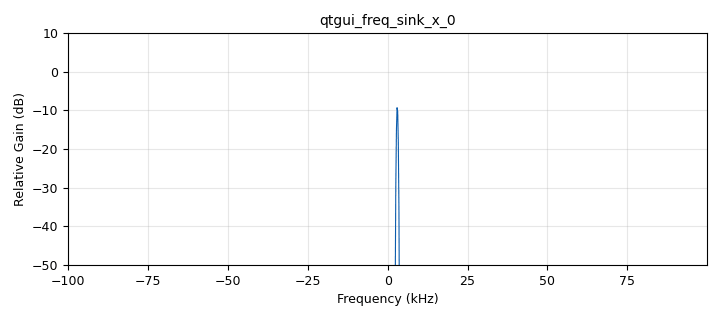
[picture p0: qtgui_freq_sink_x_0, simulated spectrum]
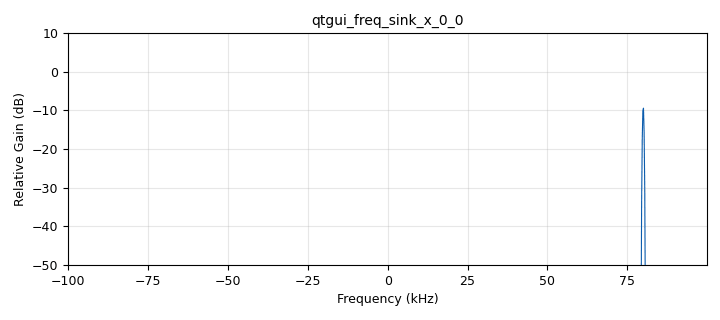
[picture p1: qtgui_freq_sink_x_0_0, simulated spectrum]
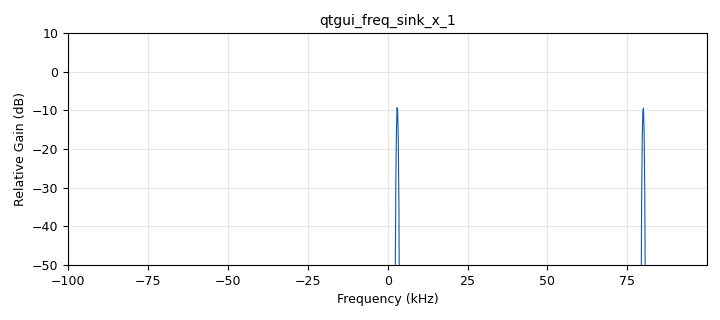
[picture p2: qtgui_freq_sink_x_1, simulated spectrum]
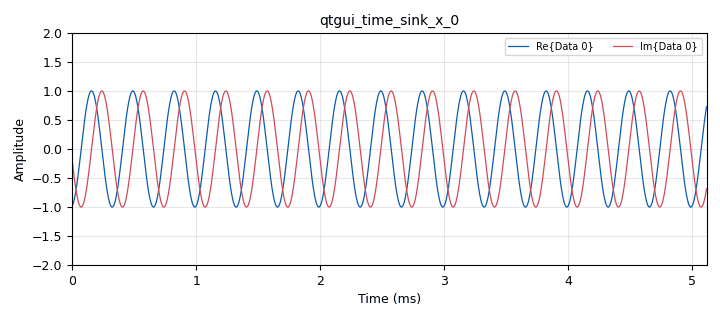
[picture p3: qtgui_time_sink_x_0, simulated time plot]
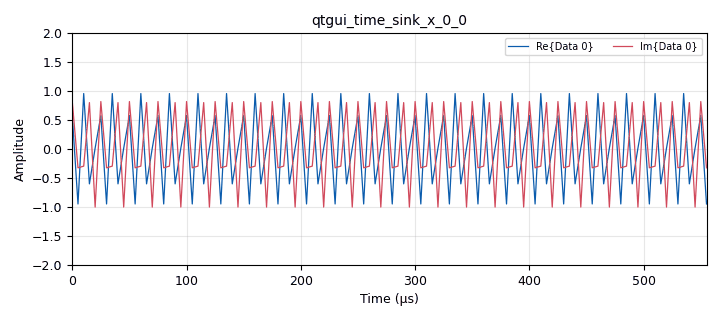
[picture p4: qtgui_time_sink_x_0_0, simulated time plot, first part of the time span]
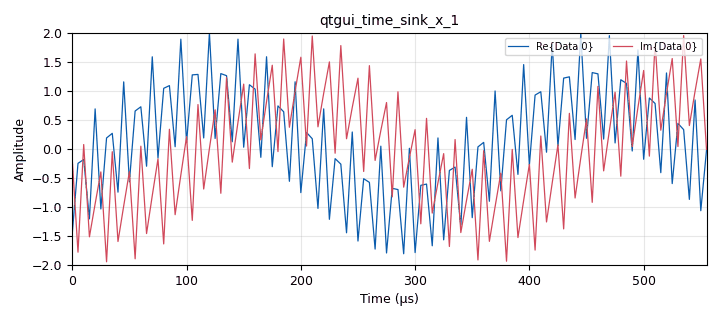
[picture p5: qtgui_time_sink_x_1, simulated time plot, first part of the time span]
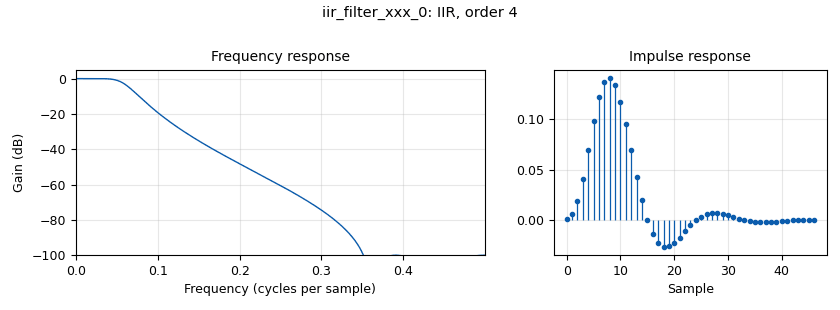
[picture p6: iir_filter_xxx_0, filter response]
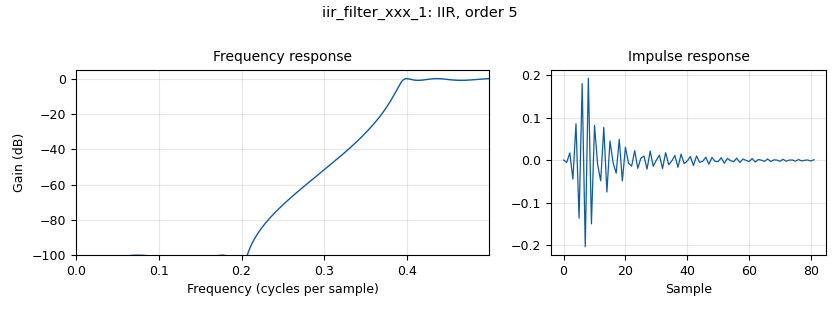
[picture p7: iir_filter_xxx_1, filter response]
<?xml version='1.0' encoding='utf-8'?>
<?grc format='1' created='3.7.11'?>
<flow_graph>
<block>
<key>options</key>
<param><key>id</key><value>top_block</value></param>
<param><key>category</key><value>Custom</value></param>
<param><key>generate_options</key><value>qt_gui</value></param>
</block>
<block>
<key>variable</key>
<param><key>id</key><value>samp_rate</value></param>
<param><key>value</key><value>200000</value></param>
</block>
<block>
<key>qtgui_tab_widget</key>
<param><key>id</key><value>aba</value></param>
<param><key>label0</key><value>Sinal Original</value></param>
<param><key>label1</key><value>Sinal filtrado(passa-baixa)</value></param>
<param><key>label2</key><value>Sinal filtrado(passa-alta)</value></param>
<param><key>num_tabs</key><value>3</value></param>
</block>
<block>
<key>analog_sig_source_x</key>
<param><key>id</key><value>analog_sig_source_x_0</value></param>
<param><key>amp</key><value>1</value></param>
<param><key>freq</key><value>3000</value></param>
<param><key>offset</key><value>0</value></param>
<param><key>type</key><value>complex</value></param>
<param><key>samp_rate</key><value>samp_rate</value></param>
<param><key>waveform</key><value>analog.GR_COS_WAVE</value></param>
</block>
<block>
<key>analog_sig_source_x</key>
<param><key>id</key><value>analog_sig_source_x_1</value></param>
<param><key>amp</key><value>1</value></param>
<param><key>freq</key><value>80000</value></param>
<param><key>offset</key><value>0</value></param>
<param><key>type</key><value>complex</value></param>
<param><key>samp_rate</key><value>samp_rate</value></param>
<param><key>waveform</key><value>analog.GR_COS_WAVE</value></param>
</block>
<block>
<key>blocks_add_xx</key>
<param><key>id</key><value>blocks_add_xx_0</value></param>
<param><key>type</key><value>complex</value></param>
</block>
<block>
<key>iir_filter_xxx</key>
<param><key>id</key><value>iir_filter_xxx_0</value></param>
<param><key>fftaps</key><value>[0.0009638076722969964, 0.0030313588672336877, 0.004233315492323548, 0.0030313588672336925, 0.0009638076722969999]</value></param>
<param><key>fbtaps</key><value>[1.0, -3.0330610834096405, 3.5399764283405, -1.8714822148129084, 0.3767905184534317]</value></param>
<param><key>oldstyle</key><value>False</value></param>
<param><key>type</key><value>ccc</value></param>
</block>
<block>
<key>iir_filter_xxx</key>
<param><key>id</key><value>iir_filter_xxx_1</value></param>
<param><key>fftaps</key><value>[0.0007069823689963606, -0.002081894494812258, 0.003371287021986986, -0.003371287021986987, 0.002081894494812262, -0.0007069823689963624]</value></param>
<param><key>fbtaps</key><value>[1.0, 3.8865765364395495, 6.497021600781949, 5.772697446945259, 2.7147113511991567, 0.5401386408247056]</value></param>
<param><key>oldstyle</key><value>False</value></param>
<param><key>type</key><value>ccf</value></param>
</block>
<block>
<key>qtgui_freq_sink_x</key>
<param><key>id</key><value>qtgui_freq_sink_x_0</value></param>
<param><key>bw</key><value>samp_rate</value></param>
<param><key>fc</key><value>0</value></param>
<param><key>fftsize</key><value>1024</value></param>
<param><key>gui_hint</key><value>aba@1:1,1</value></param>
<param><key>showports</key><value>True</value></param>
<param><key>type</key><value>complex</value></param>
<param><key>wintype</key><value>firdes.WIN_BLACKMAN_hARRIS</value></param>
<param><key>ymin</key><value>-50</value></param>
</block>
<block>
<key>qtgui_freq_sink_x</key>
<param><key>id</key><value>qtgui_freq_sink_x_0_0</value></param>
<param><key>bw</key><value>samp_rate</value></param>
<param><key>fc</key><value>0</value></param>
<param><key>fftsize</key><value>1024</value></param>
<param><key>gui_hint</key><value>aba@2:1,1</value></param>
<param><key>showports</key><value>True</value></param>
<param><key>type</key><value>complex</value></param>
<param><key>wintype</key><value>firdes.WIN_BLACKMAN_hARRIS</value></param>
<param><key>ymin</key><value>-50</value></param>
</block>
<block>
<key>qtgui_freq_sink_x</key>
<param><key>id</key><value>qtgui_freq_sink_x_1</value></param>
<param><key>bw</key><value>samp_rate</value></param>
<param><key>fc</key><value>0</value></param>
<param><key>fftsize</key><value>1024</value></param>
<param><key>gui_hint</key><value>aba@0:1,1</value></param>
<param><key>showports</key><value>True</value></param>
<param><key>type</key><value>complex</value></param>
<param><key>wintype</key><value>firdes.WIN_BLACKMAN_hARRIS</value></param>
<param><key>ymin</key><value>-50</value></param>
</block>
<block>
<key>qtgui_time_sink_x</key>
<param><key>id</key><value>qtgui_time_sink_x_0</value></param>
<param><key>gui_hint</key><value>aba@1:1,0</value></param>
<param><key>color1</key><value>"blue"</value></param>
<param><key>label1</key><value></value></param>
<param><key>color2</key><value>"red"</value></param>
<param><key>label2</key><value></value></param>
<param><key>size</key><value>1024</value></param>
<param><key>srate</key><value>samp_rate</value></param>
<param><key>type</key><value>complex</value></param>
<param><key>ymax</key><value>2</value></param>
<param><key>ymin</key><value>-2</value></param>
</block>
<block>
<key>qtgui_time_sink_x</key>
<param><key>id</key><value>qtgui_time_sink_x_0_0</value></param>
<param><key>gui_hint</key><value>aba@2:1,0</value></param>
<param><key>color1</key><value>"blue"</value></param>
<param><key>label1</key><value></value></param>
<param><key>color2</key><value>"red"</value></param>
<param><key>label2</key><value></value></param>
<param><key>size</key><value>1024</value></param>
<param><key>srate</key><value>samp_rate</value></param>
<param><key>type</key><value>complex</value></param>
<param><key>update_time</key><value>0.1</value></param>
<param><key>ymax</key><value>2</value></param>
<param><key>ymin</key><value>-2</value></param>
</block>
<block>
<key>qtgui_time_sink_x</key>
<param><key>id</key><value>qtgui_time_sink_x_1</value></param>
<param><key>gui_hint</key><value>aba@0:1,0</value></param>
<param><key>color1</key><value>"blue"</value></param>
<param><key>label1</key><value></value></param>
<param><key>color2</key><value>"red"</value></param>
<param><key>label2</key><value></value></param>
<param><key>size</key><value>1024</value></param>
<param><key>srate</key><value>samp_rate</value></param>
<param><key>type</key><value>complex</value></param>
<param><key>ymax</key><value>2</value></param>
<param><key>ymin</key><value>-2</value></param>
</block>
<connection><source_block_id>analog_sig_source_x_0</source_block_id><sink_block_id>blocks_add_xx_0</sink_block_id><source_key>0</source_key><sink_key>0</sink_key></connection>
<connection><source_block_id>analog_sig_source_x_1</source_block_id><sink_block_id>blocks_add_xx_0</sink_block_id><source_key>0</source_key><sink_key>1</sink_key></connection>
<connection><source_block_id>blocks_add_xx_0</source_block_id><sink_block_id>iir_filter_xxx_0</sink_block_id><source_key>0</source_key><sink_key>0</sink_key></connection>
<connection><source_block_id>blocks_add_xx_0</source_block_id><sink_block_id>iir_filter_xxx_1</sink_block_id><source_key>0</source_key><sink_key>0</sink_key></connection>
<connection><source_block_id>blocks_add_xx_0</source_block_id><sink_block_id>qtgui_freq_sink_x_1</sink_block_id><source_key>0</source_key><sink_key>0</sink_key></connection>
<connection><source_block_id>blocks_add_xx_0</source_block_id><sink_block_id>qtgui_time_sink_x_1</sink_block_id><source_key>0</source_key><sink_key>0</sink_key></connection>
<connection><source_block_id>iir_filter_xxx_0</source_block_id><sink_block_id>qtgui_freq_sink_x_0</sink_block_id><source_key>0</source_key><sink_key>0</sink_key></connection>
<connection><source_block_id>iir_filter_xxx_0</source_block_id><sink_block_id>qtgui_time_sink_x_0</sink_block_id><source_key>0</source_key><sink_key>0</sink_key></connection>
<connection><source_block_id>iir_filter_xxx_1</source_block_id><sink_block_id>qtgui_freq_sink_x_0_0</sink_block_id><source_key>0</source_key><sink_key>0</sink_key></connection>
<connection><source_block_id>iir_filter_xxx_1</source_block_id><sink_block_id>qtgui_time_sink_x_0_0</sink_block_id><source_key>0</source_key><sink_key>0</sink_key></connection>
</flow_graph>
